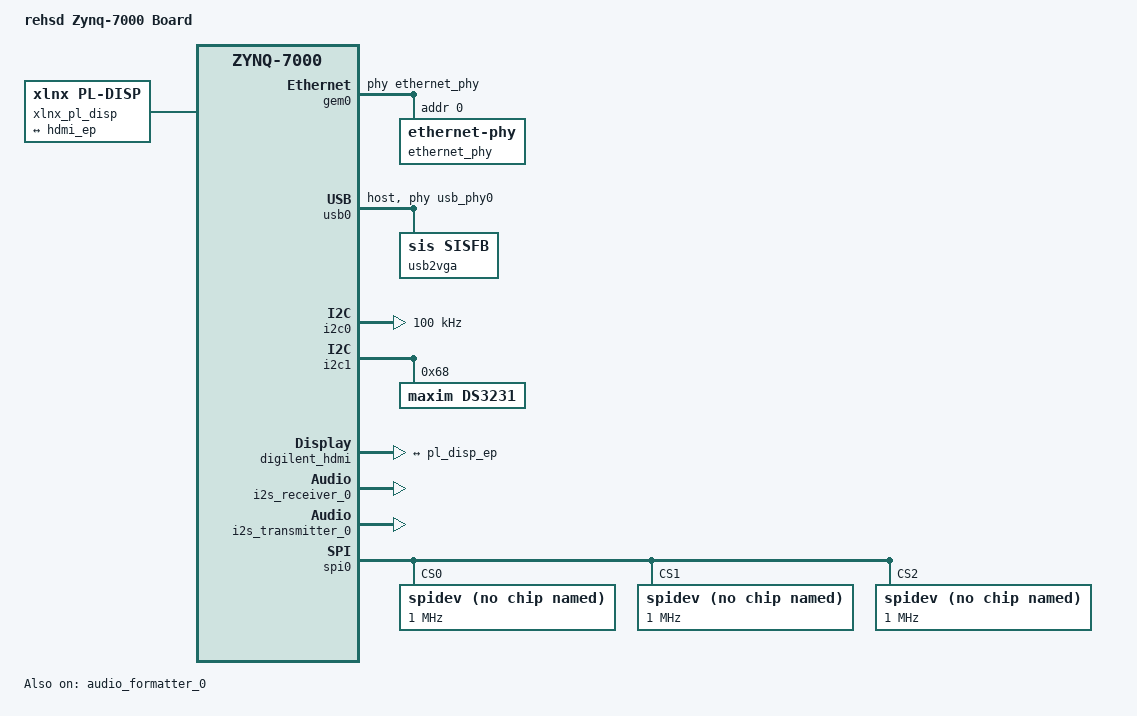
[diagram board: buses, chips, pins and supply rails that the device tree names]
/include/ "system-conf.dtsi"
#include <dt-bindings/gpio/gpio.h>
/ {
	model = "rehsd Zynq-7000 Board";
	compatible = "rehsd,zynq-7000", "xlnx,zynq-7000";
	chosen {
		bootargs = "console=ttyPS0,115200 earlyprintk root=/dev/mmcblk0p2 rw rootwait uio_pdrv_genirq.of_id=generic-uio video=HDMI-A-1:1280x720M-24@60";
	};
	
	usb_phy0: usb_phy@0 {
		compatible = "ulpi-phy";
		#phy-cells = <0>;
		reg = <0xe0002000 0x1000>;
		view-port = <0x0170>;
		reset-gpios = <&gpio0 46 1>;
		drv-vbus;
	};
};

&gem0 {
        phy-handle = <&ethernet_phy>;
        ethernet_phy: ethernet-phy@0 {
                device_type = "ethernet-phy";
                reg = <0>;
                /* dt-bindings/phy/realtek.h */
                /* #define REALTEK_LED_LINK10              BIT(0)
                   #define REALTEK_LED_LINK100             BIT(1)
                   #define REALTEK_LED_LINK1000            BIT(3)
                   #define REALTEK_LED_ACT                 BIT(4)
                   #define REALTEK_LED_DEFAULT             BIT(7)
                */
                /* LED0=10+A, LED1=100+A, LED2=1000+A */
                realtek,leds-config = <0x11 0x12 0x18>;
        };
};
&usb0 {
   	status = "okay";
   	dr_mode = "host";
   	usb-phy = <&usb_phy0>;

	
	/* HID (Human Interface Device) for mouse */
	/* mouse@1 {
	    compatible = "usb-mouse";
	    status = "okay";
	};
	*/

	usb2vga {
		compatible = "sis,sisfb";	/* sisusb (x), sisfb (x), sisusbvga, sis ? */
		vendor_id = <0x0711>;
		product_id = <0x0900>;
		status = "okay"; 
		framebuffer {
			label = "fb1"; 
			compatible = "linux,fb"; 
			linux,fb_base = <0x0>; 
		};
	};
};
&i2c0 {
    	clock-frequency = <100000>;
    	status = "okay";
};
&i2c1 {
	status = "okay";
	ds3231: rtc@68 {
		compatible = "maxim,ds3231";
		reg = <0x68>;
	};
};

&amba_pl {
	digilent_hdmi {
		compatible = "digilent,hdmi";
		clocks = <&axi_dynclk_0>;
		clock-names = "clk";
		digilent,edid-i2c = <&i2c0>;
		digilent,fmax = <150000>;
		digilent,hmax = <1920>;
		digilent,vmax = <1080>;
		digilent,hpref = <1280>;
		digilent,vpref = <720>;
		port@0 { 
			hdmi_ep: endpoint { 
				remote-endpoint = <&pl_disp_ep>; 
			}; 
		}; 
	};
	xlnx_pl_disp {
		compatible = "xlnx,pl-disp";
		device-id = <0xaa01>;
		dmas = <&axi_vdma_0 0>; 	
		dma-names = "dma0"; 
		xlnx,vformat = "RG24"; 	/* "RG24" -- XB24.no BG24.no AR24.no XR24.no RG24.yes */
		xlnx,bridge = <&v_tc_0>; 
		port@0 { 
			pl_disp_ep: endpoint { 
				remote-endpoint = <&hdmi_ep>; 
			}; 
		};
	};
	
	
	audio_formatter_0: audio_formatter@43c00000 {
		xlnx,rx = <&i2s_receiver_0>;
		interrupts = < 0 34 4 0 35 4 >;
		compatible = "xlnx,audio-formatter-1.0" , "xlnx,audio-formatter-1.0";
		xlnx,packing-mode-mm2s = <0>;
		xlnx,mm2s-async-clock = <1>;
		xlnx,tx = <&i2s_transmitter_0>;
		xlnx,mm2s-addr-width = <64>;
		interrupt-parent = <&intc>;
		xlnx,rable = <0>;
		xlnx,s2mm-dataformat = <1>;
		xlnx,ip-name = "audio_formatter";
		reg = <0x43c00000 0x10000>;
		xlnx,include-s2mm = <1>;
		xlnx,max-num-channels-mm2s = <2>;
		clocks = <&misc_clk_0>, <&clkc 15>, <&clkc 15>, <&clkc 15>;
		xlnx,s2mm-async-clock = <1>;
		xlnx,packing-mode-s2mm = <0>;
		xlnx,edk-iptype = "PERIPHERAL";
		xlnx,s2mm-addr-width = <64>;
		status = "okay";
		clock-names = "aud_mclk" , "m_axis_mm2s_aclk" , "s_axi_lite_aclk" , "s_axis_s2mm_aclk";
		xlnx,mm2s-dataformat = <3>;
		interrupt-names = "irq_mm2s" , "irq_s2mm";
		xlnx,include-mm2s = <1>;
		xlnx,max-num-channels-s2mm = <2>;
		xlnx,name = "audio_formatter_0";
	};
	i2s_receiver_0: i2s_receiver@43c20000 {
		aud_mclk = <12288000>;
		interrupts = < 0 33 4 >;
		compatible = "xlnx,i2s-receiver-1.0" , "xlnx,i2s-receiver-1.0";
		xlnx,dwidth = <0x18>;
		xlnx,depth = <0x80>;
		interrupt-parent = <&intc>;
		xlnx,rable = <0>;
		xlnx,ip-name = "i2s_receiver";
		reg = <0x43c20000 0x10000>;
		clocks = <&misc_clk_0>, <&clkc 15>, <&clkc 15>;
		xlnx,num-channels = <0x1>;
		xlnx,snd-pcm = <&audio_formatter_0>;
		xlnx,i2srx-board-interface = "Custom";
		xlnx,edk-iptype = "PERIPHERAL";
		xlnx,is-master = <0>;
		status = "okay";
		clock-names = "aud_mclk" , "m_axis_aud_aclk" , "s_axi_ctrl_aclk";
		xlnx,32bit-lr = <1>;
		interrupt-names = "irq";
		xlnx,name = "i2s_receiver_0";
	};
	i2s_transmitter_0: i2s_transmitter@43c30000 {
		aud_mclk = <12288000>;
		interrupts = < 0 32 4 >;
		compatible = "xlnx,i2s-transmitter-1.0" , "xlnx,i2s-transmitter-1.0";
		xlnx,dwidth = <0x18>;
		xlnx,depth = <0x80>;
		interrupt-parent = <&intc>;
		xlnx,rable = <0>;
		xlnx,ip-name = "i2s_transmitter";
		reg = <0x43c30000 0x10000>;
		clocks = <&misc_clk_0>, <&clkc 15>, <&clkc 15>;
		xlnx,num-channels = <0x1>;
		xlnx,snd-pcm = <&audio_formatter_0>;
		xlnx,edk-iptype = "PERIPHERAL";
		xlnx,is-master = <1>;
		xlnx,i2stx-board-interface = "Custom";
		status = "okay";
		clock-names = "aud_mclk" , "s_axi_ctrl_aclk" , "s_axis_aud_aclk";
		xlnx,32bit-lr = <1>;
		interrupt-names = "irq";
		xlnx,name = "i2s_transmitter_0";
	};
};
&spi0 {
	is-decoded-cs = <0>;
	num-cs = <3>;
	bus-num = <0>;
	status = "okay";
	spidev@0x00 {
		//compatible = "spidev";
		//see https://www.hackster.io/whitney-knitter/spidev-tutorial-for-zynq-7000-fpga-devices-b5e399
		//see https://stackoverflow.com/questions/53634892/linux-spidev-why-it-shouldnt-be-directly-in-devicetree
		compatible = "rohm,dh2228fv";
		spi-max-frequency = <1000000>;    //max of 25 Mhz
		reg = <0>;
		
		//SPI mode
		spi-cpol = <0>;
		spi-cpha = <0>;
	};
	spidev@0x01 {
		compatible = "spidev";
		spi-max-frequency = <1000000>;
		reg = <1>;
	};
	spidev@0x02 {
		compatible = "spidev";
		spi-max-frequency = <1000000>;
		reg = <2>;
	};
};
&axi_vdma_0 {
	device-id = <0xaa02>;
	reg = < 0x43000000 0x10000 >;
	dma-ranges = <0x00000000 0x00000000 0x40000000>;
	xlnx,num-fstores = <0x4>;
	/*
	vdma-channel@43000000 {
		xlnx,datawidth = <0x40>;
		xlnx,device-id = <0x0>;
	} ;
	*/
};
&axi_dynclk_0 {
	compatible = "dglnt,axi-dynclk";
	#clock-cells = <0>;
	clocks = <&clkc 15>;
};
&v_tc_0 {
	compatible = "xlnx,bridge-v-tc-6.1";	/* 6.2 is the from the block design, but doesn't work here */
	xlnx,pixels-per-clock = <1>; 
};
&axi_gpio_hdmi {
	compatible = "generic-uio";	
};

